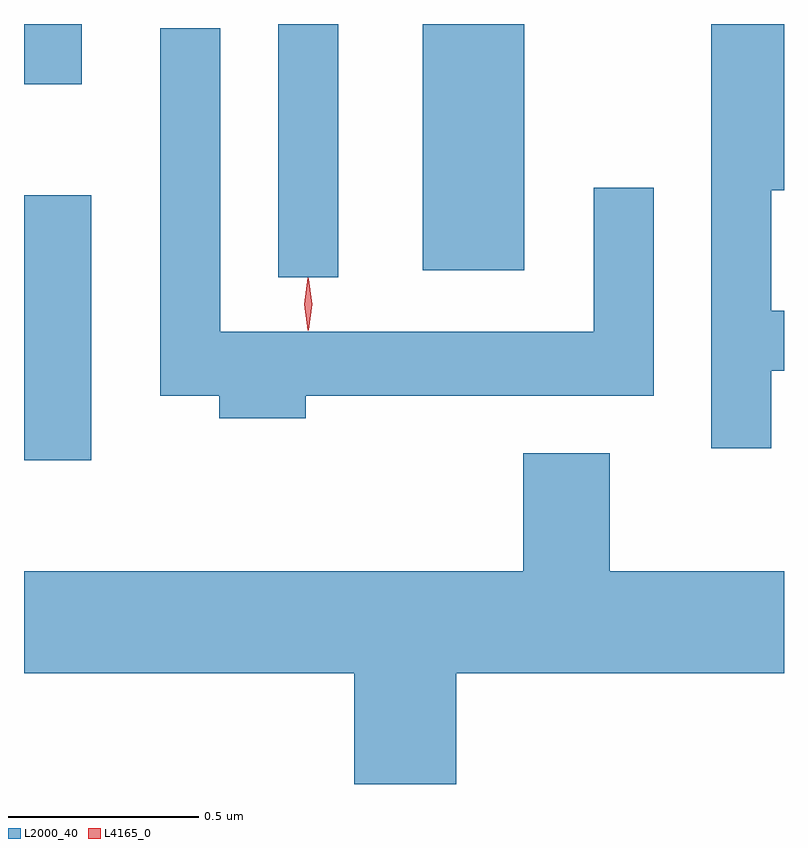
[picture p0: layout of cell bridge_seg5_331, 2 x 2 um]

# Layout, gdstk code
import gdstk
lib = gdstk.Library(unit=1e-6, precision=1e-09)
def R(c, l, rs):  # rectangles x0, y0, x1, y1
    for r in rs: c.add(gdstk.rectangle(r[:2], r[2:], *l))
def P(c, l, *ps):  # polygons
    for p in ps: c.add(gdstk.Polygon(p, *l))
L2000_40 = (2000, 40)
L4165_0 = (4165, 0)

bridge_seg5_331 = lib.new_cell('bridge_seg5_331')
R(bridge_seg5_331, L2000_40, [(673.747,1503.976,673.924,1504.674), (674.416,1504.458,674.574,1505.124), (674.796,1504.476,675.064,1505.124), (673.747,1504.966,673.899,1505.124)])
P(bridge_seg5_331, L2000_40, [(675.714,1504.211),(675.747,1504.211),(675.747,1504.369),(675.714,1504.369),(675.714,1504.686),(675.747,1504.686),(675.747,1505.124),(675.556,1505.124),(675.556,1504.008),(675.714,1504.008)],
  [(674.489,1504.146),(675.404,1504.146),(675.404,1504.693),(675.246,1504.693),(675.246,1504.314),(674.264,1504.314),(674.264,1505.113),(674.106,1505.113),(674.106,1504.146),(674.261,1504.146),(674.261,1504.086),(674.489,1504.086)],
  [(674.884,1503.416),(675.747,1503.416),(675.747,1503.684),(675.289,1503.684),(675.289,1503.994),(675.061,1503.994),(675.061,1503.684),(673.747,1503.684),(673.747,1503.416),(674.616,1503.416),(674.616,1503.124),(674.884,1503.124)])
P(bridge_seg5_331, L4165_0, [(674.495,1504.32),(674.486,1504.386),(674.495,1504.452),(674.496,1504.453),(674.496,1504.452),(674.506,1504.386),(674.496,1504.32),(674.496,1504.32)],
  [(674.495,1504.317),(674.494,1504.318),(674.485,1504.387),(674.494,1504.456),(674.495,1504.456),(674.495,1504.456),(674.505,1504.387),(674.495,1504.318)])

lib.write_gds('bridge_seg5_331.gds')
